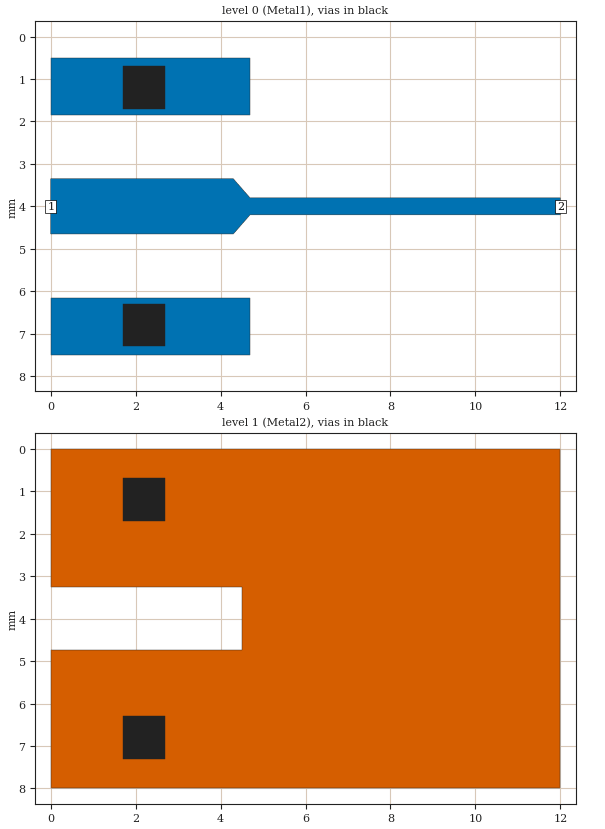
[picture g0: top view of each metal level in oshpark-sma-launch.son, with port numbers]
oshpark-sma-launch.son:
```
FTYP SONPROJ 17 ! Sonnet Project File
VER 17.52.2
HEADER
LIC antikernel2.1.48685 90e2ba8817c0 havequick azonenberg
DAT 04/04/2020 00:59:26
BUILT_BY_CREATED xgeom 16.56 07/03/2018 15:05:41
BUILT_BY_SAVED sonnet 17.52.2
MDATE 04/04/2020 00:59:26
HDATE 04/04/2020 00:59:26
END HEADER
DIM
ANG DEG
CAP PF
CON /OH
FREQ GHZ
IND NH
LNG MM
RES OH
END DIM
CONTROL
VARSWP
OPTIONS  -bdj
SPEED 0
CACHE_ABS 1
Q_ACC N
END CONTROL
GEO
SYM
TMET "Free Space" 0 FREESPACE 376.7303136 0 0 0
BMET "Lossless" 0 SUP 0 0 0 0
MET "Copper 1oz" 1 TMM 58000000 0.5 0.035 2
MET "Copper 0.5oz" 2 NOR 58000000 0.5 0.017 
MET "Copper Thick" 51 TMM 58000000 0.5 0.017 2
BRI "Alumina (96%)" 0 9.4 0.0004 0 
BRI "Alumina (99.5%)" 0 9.9 0.0001 0 
BRI "Aluminum Nitride" 0 8.6 0.0003 0 
BRI "Arlon 25FR" 0 3.58 0.0035 0 
BRI "Arlon 25N" 0 3.38 0.0025 0 
BRI "Arlon AD5" 0 5.1 0.003 0 
BRI "Arlon AD10" 0 10.2 0.005 0 
BRI "Arlon AD250" 0 2.5 0.0018 0 
BRI "Arlon AD255A" 0 2.55 0.0015 0 
BRI "Arlon AD260A" 0 2.6 0.0018 0 
BRI "Arlon AD270" 0 2.7 0.0023 0 
BRI "Arlon AD300A" 0 3 0.002 0 
BRI "Arlon AD320A" 0 3.2 0.0032 0 
BRI "Arlon AD350A" 0 3.5 0.003 0 
BRI "Arlon AD410" 0 4.1 0.003 0 
BRI "Arlon AD430" 0 4.3 0.003 0 
BRI "Arlon AD450" 0 4.5 0.0035 0 
BRI "Arlon AD600" 0 6.15 0.003 0 
BRI "Arlon AD1000" 0 10.2 0.0023 0 
BRI "Arlon AR1000" 0 9.8 0.003 0 
BRI "Arlon CLTE" 0 2.96 0.0023 0 
BRI "Arlon CLTE-AT" 0 3 0.0013 0 
BRI "Arlon CLTE-P" 0 2.94 0.0025 0 
BRI "Arlon CLTE-XT" 0 2.94 0.0012 0 
BRI "Arlon Cu 217LX" 0 2.17 0.0009 0 
BRI "Arlon Cu 233LX" 0 2.33 0.0013 0 
BRI "Arlon Cu 250GT" 0 2.5 0.001 0 
BRI "Arlon Cu 250GX" 0 2.5 0.0018 0 
BRI "Arlon Cu 6250" 0 2.32 0.0013 0 
BRI "Arlon Cu 6700" 0 2.35 0.0025 0 
BRI "Arlon Di 522" 0 2.5 0.001 0 
BRI "Arlon Di 527" 0 2.5 0.0018 0 
BRI "Arlon Di 870" 0 2.33 0.0013 0 
BRI "Arlon Di 880" 0 2.17 0.0009 0 
BRI "Arlon Iso 917" 0 2.17 0.0013 0 
BRI "Arlon Iso 933" 0 2.33 0.0016 0 
BRI "Arlon Multi HF" 0 3.7 0.004 0 
BRI "Arlon TC350" 0 3.5 0.002 0 
BRI "Arlon TC600" 0 6.15 0.002 0 
BRI "Beryllia (99.5%)" 0 6.5 0.0004 0 
BRI "CEM-1" 0 4.5 0.02 0 
BRI "CEM-3" 0 4.5 0.02 0 
BRI "Dupont 9K7" 0 7.1 0.0012 0 
BRI "Dupont 943" 0 7.4 0.002 0 
BRI "Dupont 951" 0 7.8 0.006 0 
BRI "Dupont FEP" 0 2 0.0005 0 
BRI "Dupont Vacrel" 0 3.8 0.011 0 
BRI "ESL 41010" 0 7.5 0.005 0 
BRI "ESL 41020" 0 7.25 0.005 0 
BRI "ESL 41050" 0 13.5 0.002 0 
BRI "ESL 41060" 0 16.5 0.002 0 
BRI "ESL 41110" 0 4.5 0.004 0 
BRI "Ferro A6M" 0 5.9 0.002 0 
BRI "Ferro A6S" 0 5.9 0.002 0 
BRI "Ferro L8" 0 7.3 0.0018 0 
BRI "FR-4" 0 4.4 0.02 0 
BRI "G-10" 0 4.8 0.025 0 
BRI "Gallium Arsenide" 0 12.9 0.006 0 
BRI "Gallium Nitride" 0 9.7 0 0 
BRI "Glass (Pyrex)" 0 4.82 0.0054 0 
BRI "Heraeus HL2000" 0 7.3 0.0026 0 
BRI "Isola 370HR" 0 4.04 0.021 0 
BRI "Isola FR408" 0 3.77 0.0116 0 
BRI "Isola FR408HR" 0 3.68 0.0092 0 
BRI "Isola Getek" 0 3.6 0.01 0 
BRI "Isola GI-180" 0 3.7 0.013 0 
BRI "Isola IS415" 0 3.82 0.0125 0 
BRI "Isola IS620i" 0 3.58 0.006 0 
BRI "Isola IS680-280" 0 2.8 0.0025 0 
BRI "Isola IS680-300" 0 3 0.003 0 
BRI "Isola IS680-320" 0 3.2 0.003 0 
BRI "Isola IS680-333" 0 3.33 0.003 0 
BRI "Isola IS680-338" 0 3.38 0.0032 0 
BRI "Isola IS680-345" 0 3.45 0.0036 0 
BRI "Kerafol CT800" 0 5.3 0.008 0 
BRI "Nelco MW9350" 0 3.7 0.004 0 
BRI "Nelco N4000-12" 0 3.7 0.008 0 
BRI "Nelco N4000-13" 0 3.7 0.009 0 
BRI "Nelco N4000-13SI" 0 3.2 0.007 0 
BRI "Nelco N4000-13EP" 0 3.7 0.008 0 
BRI "Nelco N4350-13RF" 0 3.5 0.0065 0 
BRI "Nelco N4380-13RF" 0 3.8 0.007 0 
BRI "Nelco N9300-13RF" 0 3 0.004 0 
BRI "Nelco N9320-13RF" 0 3.2 0.0045 0 
BRI "Nelco N9338-13RF" 0 3.38 0.0046 0 
BRI "Nelco N9350-13RF" 0 3.48 0.0055 0 
BRI "Nelco NH9294" 0 2.94 0.0022 0 
BRI "Nelco NH9300" 0 3 0.0023 0 
BRI "Nelco NH9320" 0 3.2 0.0024 0 
BRI "Nelco NH9338" 0 3.38 0.0025 0 
BRI "Nelco NH9348" 0 3.48 0.003 0 
BRI "Nelco NH9350" 0 3.5 0.003 0 
BRI "Nelco NH9410" 0 4.1 0.003 0 
BRI "Nelco NH9450" 0 4.5 0.003 0 
BRI "Nelco NX9240" 0 2.4 0.0016 0 
BRI "Nelco NX9245" 0 2.45 0.0016 0 
BRI "Nelco NX9250" 0 2.5 0.0017 0 
BRI "Nelco NX9255" 0 2.55 0.0018 0 
BRI "Nelco NX9260" 0 2.6 0.0019 0 
BRI "Nelco NY9208" 0 2.08 0.0006 0 
BRI "Nelco NY9217" 0 2.17 0.0008 0 
BRI "Nelco NY9220" 0 2.2 0.0009 0 
BRI "Nelco NY9233" 0 2.33 0.0011 0 
BRI "PET" 0 3.37 0.0208 0 
BRI "Polyimide" 0 3.5 0.003 0 
BRI "Quartz (Fused)" 0 3.78 0.0001 0 
BRI "Rogers 3001" 0 2.28 0.003 0 
BRI "Rogers RO2808" 0 7.6 0.0015 0 
BRI "Rogers RO3003" 0 3 0.0013 0 
BRI "Rogers RO3006" 0 6.5 0.002 0 
BRI "Rogers RO3010" 0 11.2 0.0022 0 
BRI "Rogers RO3035" 0 3.6 0.0018 0 
BRI "Rogers RO3203" 0 3.02 0.0016 0 
BRI "Rogers RO3206" 0 6.6 0.0027 0 
BRI "Rogers RO3210" 0 10.8 0.0027 0 
BRI "Rogers RO3730" 0 3 0.0016 0 
BRI "Rogers RO4003C" 0 3.55 0.0029 0 
BRI "Rogers RO4533" 0 3.45 0.0029 0 
BRI "Rogers RO4534" 0 3.4 0.003 0 
BRI "Rogers RO4350B" 0 3.66 0.0037 0 
BRI "Rogers RO4350BTX" 0 3.66 0.0034 0 
BRI "Rogers RO4360" 0 6.15 0.0038 0 
BRI "Rogers RO4450B-3.6" 0 3.3 0.0043 0 
BRI "Rogers RO4450B-4" 0 3.54 0.004 0 
BRI "Rogers RO4450F" 0 3.52 0.0041 0 
BRI "Rogers RO4730" 0 3 0.0033 0 
BRI "Rogers RT5870" 0 2.33 0.0012 0 
BRI "Rogers RT5880" 0 2.2 0.0009 0 
BRI "Rogers RT5880LZ" 0 1.96 0.0019 0 
BRI "Rogers RT6002" 0 2.94 0.0012 0 
BRI "Rogers RT6006" 0 6.15 0.0027 0 
BRI "Rogers RT6010LM" 0 10.9 0.0023 0 
BRI "Rogers RT6035HTC" 0 3.6 0.0013 0 
BRI "Rogers RT6202" 0 2.94 0.0015 0 
BRI "Rogers RT6202PR" 0 2.95 0.0015 0 
BRI "Rogers Syron7000" 0 3.4 0.0045 0 
BRI "Rogers Syron7100-2" 0 3.61 0.006 0 
BRI "Rogers Syron7100-4" 0 3.39 0.005 0 
BRI "Rogers Theta" 0 4.01 0.0118 0 
BRI "Rogers TMM 3" 0 3.39 0.002 0 
BRI "Rogers TMM 4" 0 4.5 0.002 0 
BRI "Rogers TMM 6" 0 6 0.0023 0 
BRI "Rogers TMM 10" 0 9.56 0.0022 0 
BRI "Rogers TMM 10i" 0 9.96 0.002 0 
BRI "Rogers UL2000" 0 2.5 0.0019 0 
BRI "Rogers UL3850" 0 3.05 0.0025 0 
BRI "Rogers UL3908" 0 2.9 0.0025 0 
BRI "Rogers XT8000" 0 3.34 0.0035 0 
BRI "Rogers XT8100-2" 0 3.54 0.0049 0 
BRI "Rogers XT8100-4" 0 3.32 0.0038 0 
BRI "Silicon (intrinsic)" 0 11.9 0.004 0.00044 
BRI "Silicon Dioxide" 0 3.9 0 0 
BRI "Silicon Nitride" 0 7.5 0 0 
BRI "Taconic CER-10" 0 10 0.0035 0 
BRI "Taconic FastFilm" 0 2.7 0.0012 0 
BRI "Taconic Fastrise-DS" 0 2.96 0.0018 0 
BRI "Taconic Fastrise27" 0 2.7 0.0014 0 
BRI "Taconic Fastrise77" 0 7.7 0.0034 0 
BRI "Taconic FEP" 0 2 0.0003 0 
BRI "Taconic RF-30" 0 3 0.0014 0 
BRI "Taconic RF-35" 0 3.5 0.0018 0 
BRI "Taconic RF-35A2" 0 3.5 0.0011 0 
BRI "Taconic RF-35P" 0 3.5 0.0025 0 
BRI "Taconic RF-41" 0 4.1 0.0038 0 
BRI "Taconic RF-43" 0 4.3 0.0033 0 
BRI "Taconic RF-45" 0 4.5 0.0037 0 
BRI "Taconic RF-60A" 0 6.15 0.0038 0 
BRI "Taconic RF-301" 0 2.97 0.0012 0 
BRI "Taconic TacBond HT" 0 2.35 0.0025 0 
BRI "Taconic TLA-6" 0 2.62 0.0012 0 
BRI "Taconic TLC-27" 0 2.75 0.003 0 
BRI "Taconic TLC-30" 0 3 0.003 0 
BRI "Taconic TLC-32" 0 3.2 0.003 0 
BRI "Taconic TLE-95" 0 2.95 0.0028 0 
BRI "Taconic TLF-34" 0 3.4 0.002 0 
BRI "Taconic TLF-35" 0 3.5 0.002 0 
BRI "Taconic TLP-3" 0 2.33 0.0009 0 
BRI "Taconic TLP-5" 0 2.2 0.0009 0 
BRI "Taconic TLP-5A" 0 2.17 0.0009 0 
BRI "Taconic TLT-0" 0 2.45 0.0006 0 
BRI "Taconic TLT-9" 0 2.5 0.0006 0 
BRI "Taconic TLT-8" 0 2.55 0.0006 0 
BRI "Taconic TLT-7" 0 2.6 0.0006 0 
BRI "Taconic TLT-6" 0 2.65 0.0006 0 
BRI "Taconic TLX-0" 0 2.45 0.0019 0 
BRI "Taconic TLX-9" 0 2.5 0.0019 0 
BRI "Taconic TLX-8" 0 2.55 0.0019 0 
BRI "Taconic TLX-7" 0 2.6 0.0019 0 
BRI "Taconic TLX-6" 0 2.65 0.0019 0 
BRI "Taconic TLY-3" 0 2.33 0.0009 0 
BRI "Taconic TLY-3F" 0 2.33 0.0009 0 
BRI "Taconic TLY-5" 0 2.2 0.0009 0 
BRI "Taconic TLY-5-L" 0 2.2 0.0009 0 
BRI "Taconic TLY-5A" 0 2.17 0.0009 0 
BRI "Taconic TLY-5A-L" 0 2.17 0.0009 0 
BRI "Taconic TPG-30" 0 3 0.0038 0 
BRI "Taconic TPG-32" 0 3.2 0.005 0 
BRI "Taconic TPG-35" 0 3.5 0.005 0 
BRI "Taconic TRF-41" 0 4.1 0.0035 0 
BRI "Taconic TRF-43" 0 4.3 0.0035 0 
BRI "Taconic TRF-45" 0 4.5 0.0035 0 
BRI "Taconic TSM-DS" 0 2.85 0.001 0 
BRI "Taconic TSM-DS3" 0 3 0.0011 0 
BRI "Taconic TSM-26" 0 2.6 0.0014 0 
BRI "Taconic TSM-29" 0 2.94 0.0013 0 
BRI "Taconic TSM-30" 0 3 0.0013 0 
BRI "Teflon (PTFE)" 0 2.08 0.0004 0 
BOX 2 12 8 480 320 20 0
      5 1 1 0 0 0 0 "Air"
      0.19 3.33 1 0.0092 0 0 0 "Isola FR408HR"
      1.19 3.33 1 0.0092 0 0 0 "Isola FR408HR"
TECHLAY METAL Metal1 <UNSPECIFIED> -2 0 
0 0 0 N 0 1 1 100 100 0 0 0 Y
END
END
TECHLAY METAL Metal2 <UNSPECIFIED> -3 0 
1 0 1 N 0 1 1 100 100 0 0 0 Y
END
END
TECHLAY VIA Via1 <UNSPECIFIED> -4 0 
VIA POLYGON
1 0 -1 N 0 1 1 100 100 0 0 0 Y
TOLEVEL 0 RING NOCOVERS
END
END
DIM STD XDIR 1
POS 2.643333523 -0.287723051
NOM 4.3
REF1 POLY 4767 1
5
REF2 POLY 4767 1
4
END
DIM STD YDIR -1
POS -0.4488679567 -1.009182129
NOM 1.3
REF1 POLY 4767 1
6
REF2 POLY 4767 1
5
END
DIM STD YDIR -1
POS 0.4328988665 -0.5142165283
NOM 0.4
REF1 POLY 4767 1
1
REF2 POLY 4767 1
2
END
DIM STD XDIR -1
POS -0.9073964413 0.3890124595
NOM 1.7
REF1 POLY 4772 1
0
REF2 POLY 4770 1
3
END
DIM STD YDIR -1
POS -0.4209301795 -1.067958963
NOM 1.5
REF1 POLY 4767 1
5
REF2 POLY 4770 1
3
END
DIM STD YDIR -1
POS -0.4701461535 -0.386139297
NOM 1.5
REF1 POLY 4771 1
0
REF2 POLY 4767 1
6
END
DIM STD XDIR 1
POS 1.299405989 -0.2975826588
NOM 1.7
REF1 POLY 4771 1
0
REF2 POLY 4773 1
0
END
DIM STD XDIR 1
POS 2.92031091 0.610562529
NOM 4.5
REF1 POLY 4791 1
1
REF2 POLY 4791 1
2
END
DIM STD YDIR 1
POS -0.3463002017 0.8539217715
NOM 1.5
REF1 POLY 4791 1
2
REF2 POLY 4791 1
3
END
DIM STD XDIR 1
POS 0.2629857971 -0.2250460905
NOM 0.39375
REF1 POLY 4767 1
4
REF2 POLY 4767 1
3
END
LORGN 0 250 U 
POR1 BOX
POLY 4767 1
5
1 50 0 0 0 0 4 
POR1 BOX
POLY 4767 1
1
2 50 0 0 0 12 4 
NUM 6
0 9 0 N 4767 1 1 100 100 0 0 0 Y
TLAYNAM Metal1 INH
4.69375 4.2
12 4.2
12 3.8
4.69375 3.8
4.3 3.35
0 3.35
0 4.65
4.3 4.65
4.69375 4.2
END
0 5 0 N 4770 1 1 100 100 0 0 0 Y
TLAYNAM Metal1 INH
0 0.5
4.7 0.5
4.7 1.85
0 1.85
0 0.5
END
0 5 0 N 4771 1 1 100 100 0 0 0 Y
TLAYNAM Metal1 INH
0 6.15
4.7 6.15
4.7 7.5
0 7.5
0 6.15
END
VIA POLYGON
0 5 -1 N 4772 1 1 100 100 0 0 0 Y
TOLEVEL 1 RING NOCOVERS
1.7 0.7
2.7 0.7
2.7 1.7
1.7 1.7
1.7 0.7
END
VIA POLYGON
0 5 -1 N 4773 1 1 100 100 0 0 0 Y
TOLEVEL 1 RING NOCOVERS
1.7 6.3
2.7 6.3
2.7 7.3
1.7 7.3
1.7 6.3
END
1 9 1 N 4791 1 1 100 100 0 0 0 Y
TLAYNAM Metal2 INH
0 0
0 3.25
4.5 3.25
4.5 4.75
0 4.75
0 8
12 8
12 0
0 0
END
END GEO
OPT
MAX 100
END OPT
VARSWP
ENABLED Y
FREQ Y AY ABS_ENTRY 0.1 5.0 -1 300 
END
END VARSWP
3DOPTIONS
GLOBAL 1
ALL 3 1
END 3DOPTIONS
```
